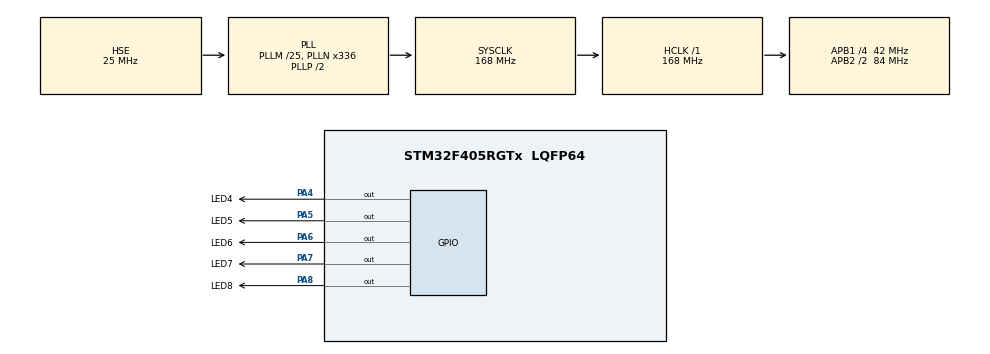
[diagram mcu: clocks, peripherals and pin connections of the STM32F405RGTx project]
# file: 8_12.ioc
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Mcu.Family=STM32F4
Mcu.Name=STM32F405RGTx
Mcu.Package=LQFP64
NVIC.PriorityGroup=NVIC_PRIORITYGROUP_4
PA4.GPIO_Label=LED4
PA4.Signal=GPIO_Output
PA5.GPIO_Label=LED5
PA5.Signal=GPIO_Output
PA6.GPIO_Label=LED6
PA6.Signal=GPIO_Output
PA7.GPIO_Label=LED7
PA7.Signal=GPIO_Output
PA8.GPIO_Label=LED8
PA8.Signal=GPIO_Output
PH0-OSC_IN.Mode=HSE-External-Oscillator
PH0-OSC_IN.Signal=RCC_OSC_IN
PH1-OSC_OUT.Mode=HSE-External-Oscillator
PH1-OSC_OUT.Signal=RCC_OSC_OUT
ProjectManager.HeapSize=0x400
ProjectManager.StackSize=0x800
ProjectManager.TargetToolchain=MDK-ARM V5.32
RCC.48MHZClocksFreq_Value=84000000
RCC.AHBFreq_Value=168000000
RCC.APB1CLKDivider=RCC_HCLK_DIV4
RCC.APB1Freq_Value=42000000
RCC.APB1TimFreq_Value=84000000
RCC.APB2CLKDivider=RCC_HCLK_DIV2
RCC.APB2Freq_Value=84000000
RCC.APB2TimFreq_Value=168000000
RCC.CortexFreq_Value=168000000
RCC.HCLKFreq_Value=168000000
RCC.HSE_VALUE=25000000
RCC.HSI_VALUE=16000000
RCC.LSE_VALUE=32768
RCC.PLLM=25
RCC.PLLN=336
RCC.PLLSourceVirtual=RCC_PLLSOURCE_HSE
RCC.SYSCLKFreq_VALUE=168000000
RCC.SYSCLKSource=RCC_SYSCLKSOURCE_PLLCLK
RCC.VCOOutputFreq_Value=336000000
board=custom

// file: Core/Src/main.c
/* USER CODE BEGIN Header */
/**
  ******************************************************************************
  * @file           : main.c
  * @brief          : Main program body
  ******************************************************************************
  * @attention
  *
  * Copyright (c) 2025 STMicroelectronics.
  * All rights reserved.
  *
  * This software is licensed under terms that can be found in the LICENSE file
  * in the root directory of this software component.
  * If no LICENSE file comes with this software, it is provided AS-IS.
  *
  ******************************************************************************
  */
/* USER CODE END Header */
#include "main.h"
#include "gpio.h"

void SystemClock_Config(void);

/* USER CODE BEGIN 0 */
int num;

/* USER CODE END 0 */

int main(void)
{

  /* USER CODE BEGIN 1 */
 static uint8_t current_led = 0;
 static uint32_t last_led_time = 0;
 static uint32_t beep_end_time = 0;
 static uint8_t beep_on = 0;
 static uint32_t beep_start_time = 0;
 static uint32_t next_beep_time = 3000;
uint32_t start = HAL_GetTick();
  /* USER CODE END 1 */

  /* MCU Configuration--------------------------------------------------------*/

  /* Reset of all peripherals, Initializes the Flash interface and the Systick. */
  HAL_Init();

  /* Configure the system clock */
  SystemClock_Config();

  /* Initialize all configured peripherals */
  MX_GPIO_Init();

  /* Infinite loop */
  while (1)
  {

    /* USER CODE BEGIN 3 */
	uint32_t current_time = HAL_GetTick();
  if ((current_time - last_led_time >= 200)&&current_led<6) {
    last_led_time = current_time;
    switch(current_led) {
      case 0: HAL_GPIO_WritePin(LED4_GPIO_Port, LED4_Pin, GPIO_PIN_SET); break;
      case 1: HAL_GPIO_WritePin(LED5_GPIO_Port, LED5_Pin, GPIO_PIN_SET); break;
      case 2: HAL_GPIO_WritePin(LED6_GPIO_Port, LED6_Pin, GPIO_PIN_SET); break;
      case 3: HAL_GPIO_WritePin(LED7_GPIO_Port, LED7_Pin, GPIO_PIN_SET); break;
      case 4: HAL_GPIO_WritePin(LED8_GPIO_Port, LED8_Pin, GPIO_PIN_SET); break;
    }
		HAL_Delay(50);
    switch(current_led) {
      case 0: HAL_GPIO_WritePin(LED4_GPIO_Port, LED4_Pin, GPIO_PIN_RESET); break;
      case 1: HAL_GPIO_WritePin(LED5_GPIO_Port, LED5_Pin, GPIO_PIN_RESET); break;
      case 2: HAL_GPIO_WritePin(LED6_GPIO_Port, LED6_Pin, GPIO_PIN_RESET); break;
      case 3: HAL_GPIO_WritePin(LED7_GPIO_Port, LED7_Pin, GPIO_PIN_RESET); break;
      case 4: HAL_GPIO_WritePin(LED8_GPIO_Port, LED8_Pin, GPIO_PIN_RESET); break;
    }
		current_led = (current_led + 1) % LED_COUNT;
		HAL_Delay(50);
		printf("%d",HAL_GetTick()-start);
  }
if (!beep_on && current_time >=next_beep_time ) {
    HAL_GPIO_WritePin(LED8_GPIO_Port, LED8_Pin, GPIO_PIN_SET);
    beep_end_time = current_time + 200;
	  next_beep_time = current_time + 30000;
    beep_on = 1;
	  num++;
  }

  if (beep_on && current_time >= beep_end_time) {
    HAL_GPIO_WritePin(LED8_GPIO_Port, LED8_Pin, GPIO_PIN_RESET);
    beep_on = 0;
  }
}
	int time =HAL_GetTick()-start;
  printf("%d",time);
}
  /* USER CODE END 3 */

void SystemClock_Config(void)
{
  RCC_OscInitTypeDef RCC_OscInitStruct = {0};
  RCC_ClkInitTypeDef RCC_ClkInitStruct = {0};

  /** Configure the main internal regulator output voltage
  */
  __HAL_RCC_PWR_CLK_ENABLE();
  __HAL_PWR_VOLTAGESCALING_CONFIG(PWR_REGULATOR_VOLTAGE_SCALE1);

  /** Initializes the RCC Oscillators according to the specified parameters
  * in the RCC_OscInitTypeDef structure.
  */
  RCC_OscInitStruct.OscillatorType = RCC_OSCILLATORTYPE_HSE;
  RCC_OscInitStruct.HSEState = RCC_HSE_ON;
  RCC_OscInitStruct.PLL.PLLState = RCC_PLL_ON;
  RCC_OscInitStruct.PLL.PLLSource = RCC_PLLSOURCE_HSE;
  RCC_OscInitStruct.PLL.PLLM = 25;
  RCC_OscInitStruct.PLL.PLLN = 336;
  RCC_OscInitStruct.PLL.PLLP = RCC_PLLP_DIV2;
  RCC_OscInitStruct.PLL.PLLQ = 4;
  if (HAL_RCC_OscConfig(&RCC_OscInitStruct) != HAL_OK)
  {
    Error_Handler();
  }

  /** Initializes the CPU, AHB and APB buses clocks
  */
  RCC_ClkInitStruct.ClockType = RCC_CLOCKTYPE_HCLK|RCC_CLOCKTYPE_SYSCLK
                              |RCC_CLOCKTYPE_PCLK1|RCC_CLOCKTYPE_PCLK2;
  RCC_ClkInitStruct.SYSCLKSource = RCC_SYSCLKSOURCE_PLLCLK;
  RCC_ClkInitStruct.AHBCLKDivider = RCC_SYSCLK_DIV1;
  RCC_ClkInitStruct.APB1CLKDivider = RCC_HCLK_DIV4;
  RCC_ClkInitStruct.APB2CLKDivider = RCC_HCLK_DIV2;

  if (HAL_RCC_ClockConfig(&RCC_ClkInitStruct, FLASH_LATENCY_5) != HAL_OK)
  {
    Error_Handler();
  }
}

void Error_Handler(void)
{
  __disable_irq();
  while (1)
  {
  }
}
